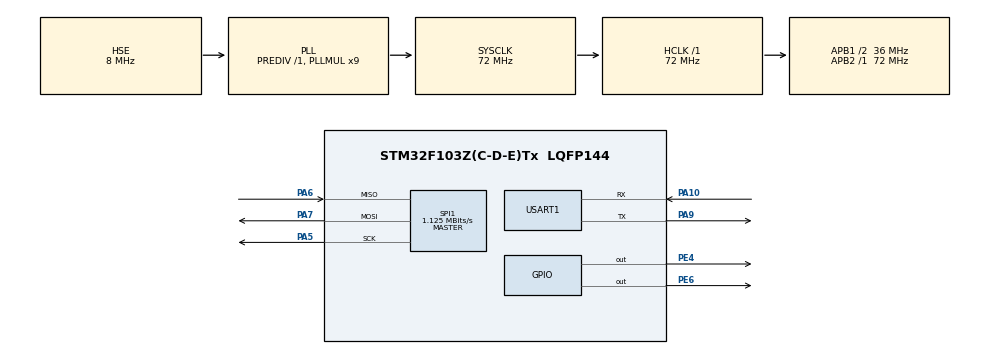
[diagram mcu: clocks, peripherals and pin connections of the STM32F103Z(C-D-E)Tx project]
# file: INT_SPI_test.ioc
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Mcu.Family=STM32F1
Mcu.Name=STM32F103Z(C-D-E)Tx
Mcu.Package=LQFP144
NVIC.PriorityGroup=NVIC_PRIORITYGROUP_4
NVIC.SPI1_IRQn=true\:0\:0\:true\:false\:true\:true\:true\:true
NVIC.USART1_IRQn=true\:0\:0\:false\:false\:true\:false\:true\:true
OSC_IN.Mode=HSE-External-Oscillator
OSC_IN.Signal=RCC_OSC_IN
OSC_OUT.Mode=HSE-External-Oscillator
OSC_OUT.Signal=RCC_OSC_OUT
PA10.Mode=Asynchronous
PA10.Signal=USART1_RX
PA13.Mode=Serial_Wire
PA13.Signal=SYS_JTMS-SWDIO
PA14.Mode=Serial_Wire
PA14.Signal=SYS_JTCK-SWCLK
PA5.Mode=Full_Duplex_Master
PA5.Signal=SPI1_SCK
PA6.Mode=Full_Duplex_Master
PA6.Signal=SPI1_MISO
PA7.Mode=Full_Duplex_Master
PA7.Signal=SPI1_MOSI
PA9.Mode=Asynchronous
PA9.Signal=USART1_TX
PE4.PinState=GPIO_PIN_SET
PE4.Signal=GPIO_Output
PE6.PinState=GPIO_PIN_SET
PE6.Signal=GPIO_Output
ProjectManager.HeapSize=0x200
ProjectManager.StackSize=0x400
ProjectManager.TargetToolchain=MDK-ARM V5.32
RCC.AHBFreq_Value=72000000
RCC.APB1CLKDivider=RCC_HCLK_DIV2
RCC.APB1Freq_Value=36000000
RCC.APB1TimFreq_Value=72000000
RCC.APB2Freq_Value=72000000
RCC.APB2TimFreq_Value=72000000
RCC.HCLKFreq_Value=72000000
RCC.PLLMUL=RCC_PLL_MUL9
RCC.PLLSourceVirtual=RCC_PLLSOURCE_HSE
RCC.SYSCLKFreq_VALUE=72000000
RCC.SYSCLKSource=RCC_SYSCLKSOURCE_PLLCLK
RCC.USBFreq_Value=72000000
SPI1.BaudRatePrescaler=SPI_BAUDRATEPRESCALER_64
SPI1.CalculateBaudRate=1.125 MBits/s
SPI1.Direction=SPI_DIRECTION_2LINES
SPI1.Mode=SPI_MODE_MASTER
SPI1.VirtualType=VM_MASTER
USART1.Parity=PARITY_ODD
USART1.VirtualMode=VM_ASYNC
USART1.WordLength=WORDLENGTH_9B
board=custom

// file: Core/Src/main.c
/* USER CODE BEGIN Header */
/**
 ******************************************************************************
 * @file           : main.c
 * @brief          : Main program body
 ******************************************************************************
 * @attention
 *
 * Copyright (c) 2026 STMicroelectronics.
 * All rights reserved.
 *
 * This software is licensed under terms that can be found in the LICENSE file
 * in the root directory of this software component.
 * If no LICENSE file comes with this software, it is provided AS-IS.
 *
 ******************************************************************************
 */
/* USER CODE END Header */
#include "main.h"
/* USER CODE BEGIN Includes */
#include "BSP_Usart_Redir.h"
#include <stdbool.h>
/* USER CODE END Includes */

/* USER CODE BEGIN PD */
// #define VERSION1
#define VERSION2
/* USER CODE END PD */

SPI_HandleTypeDef hspi1;
UART_HandleTypeDef huart1;

/* USER CODE BEGIN PV */

// version1
#ifdef VERSION1
uint8_t tx_buffer[4] = {0x9F, 0x00, 0x00, 0x00};
uint8_t rx_buffer[4] = {0x00};
volatile uint32_t id = 0;
volatile bool is_JEDEC_ready = false;
#endif
// version2
#ifdef VERSION2
uint8_t cmd = 0x9F;
uint8_t rx_buffer[3] = {0x00, 0x00, 0x00};
volatile uint32_t id = 0;
volatile bool is_JEDEC_ready = false;
#endif
/* USER CODE END PV */

void SystemClock_Config(void);
static void MX_GPIO_Init(void);
static void MX_SPI1_Init(void);
static void MX_USART1_UART_Init(void);
/* USER CODE BEGIN PFP */
void W25Qxx_CS_Enable(void);
void W25Qxx_CS_Disable(void);
#ifdef VERSION1
void W25Qxx_ReadID_IT(void);
#endif
#ifdef VERSION2
void W25Qxx_ReadID_Version2_IT(void);
#endif
/* USER CODE END PFP */

int main(void)
{

  /* MCU Configuration--------------------------------------------------------*/

  /* Reset of all peripherals, Initializes the Flash interface and the Systick. */
  HAL_Init();

  /* Configure the system clock */
  SystemClock_Config();

  /* Initialize all configured peripherals */
  MX_GPIO_Init();
  MX_SPI1_Init();
  MX_USART1_UART_Init();
  /* USER CODE BEGIN 2 */
  BSP_Usart_Init(&huart1);
#ifdef VERSION1
  W25Qxx_ReadID_IT(); // 以中断的方式获取ID！
#endif
#ifdef VERSION2
  W25Qxx_ReadID_Version2_IT();
#endif
  /* USER CODE END 2 */

  /* Infinite loop */
  /* USER CODE BEGIN WHILE */
  while (1)
  {
    if (is_JEDEC_ready)
    {
      printf("JEDEC ID: 0x%x\n", id);
      is_JEDEC_ready = false;
    }
    /* USER CODE END WHILE */

  }
}

void SystemClock_Config(void)
{
  RCC_OscInitTypeDef RCC_OscInitStruct = {0};
  RCC_ClkInitTypeDef RCC_ClkInitStruct = {0};

  /** Initializes the RCC Oscillators according to the specified parameters
   * in the RCC_OscInitTypeDef structure.
   */
  RCC_OscInitStruct.OscillatorType = RCC_OSCILLATORTYPE_HSE;
  RCC_OscInitStruct.HSEState = RCC_HSE_ON;
  RCC_OscInitStruct.HSEPredivValue = RCC_HSE_PREDIV_DIV1;
  RCC_OscInitStruct.HSIState = RCC_HSI_ON;
  RCC_OscInitStruct.PLL.PLLState = RCC_PLL_ON;
  RCC_OscInitStruct.PLL.PLLSource = RCC_PLLSOURCE_HSE;
  RCC_OscInitStruct.PLL.PLLMUL = RCC_PLL_MUL9;
  if (HAL_RCC_OscConfig(&RCC_OscInitStruct) != HAL_OK)
  {
    Error_Handler();
  }

  /** Initializes the CPU, AHB and APB buses clocks
   */
  RCC_ClkInitStruct.ClockType = RCC_CLOCKTYPE_HCLK | RCC_CLOCKTYPE_SYSCLK | RCC_CLOCKTYPE_PCLK1 | RCC_CLOCKTYPE_PCLK2;
  RCC_ClkInitStruct.SYSCLKSource = RCC_SYSCLKSOURCE_PLLCLK;
  RCC_ClkInitStruct.AHBCLKDivider = RCC_SYSCLK_DIV1;
  RCC_ClkInitStruct.APB1CLKDivider = RCC_HCLK_DIV2;
  RCC_ClkInitStruct.APB2CLKDivider = RCC_HCLK_DIV1;

  if (HAL_RCC_ClockConfig(&RCC_ClkInitStruct, FLASH_LATENCY_2) != HAL_OK)
  {
    Error_Handler();
  }
}

static void MX_SPI1_Init(void)
{

  /* SPI1 parameter configuration*/
  hspi1.Instance = SPI1;
  hspi1.Init.Mode = SPI_MODE_MASTER;
  hspi1.Init.Direction = SPI_DIRECTION_2LINES;
  hspi1.Init.DataSize = SPI_DATASIZE_8BIT;
  hspi1.Init.CLKPolarity = SPI_POLARITY_LOW;
  hspi1.Init.CLKPhase = SPI_PHASE_1EDGE;
  hspi1.Init.NSS = SPI_NSS_SOFT;
  hspi1.Init.BaudRatePrescaler = SPI_BAUDRATEPRESCALER_64;
  hspi1.Init.FirstBit = SPI_FIRSTBIT_MSB;
  hspi1.Init.TIMode = SPI_TIMODE_DISABLE;
  hspi1.Init.CRCCalculation = SPI_CRCCALCULATION_DISABLE;
  hspi1.Init.CRCPolynomial = 10;
  if (HAL_SPI_Init(&hspi1) != HAL_OK)
  {
    Error_Handler();
  }
}

static void MX_USART1_UART_Init(void)
{

  huart1.Instance = USART1;
  huart1.Init.BaudRate = 115200;
  huart1.Init.WordLength = UART_WORDLENGTH_9B;
  huart1.Init.StopBits = UART_STOPBITS_1;
  huart1.Init.Parity = UART_PARITY_ODD;
  huart1.Init.Mode = UART_MODE_TX_RX;
  huart1.Init.HwFlowCtl = UART_HWCONTROL_NONE;
  huart1.Init.OverSampling = UART_OVERSAMPLING_16;
  if (HAL_UART_Init(&huart1) != HAL_OK)
  {
    Error_Handler();
  }
}

static void MX_GPIO_Init(void)
{
  GPIO_InitTypeDef GPIO_InitStruct = {0};

  /* GPIO Ports Clock Enable */
  __HAL_RCC_GPIOE_CLK_ENABLE();
  __HAL_RCC_GPIOA_CLK_ENABLE();

  /*Configure GPIO pin Output Level */
  HAL_GPIO_WritePin(GPIOE, GPIO_PIN_4 | GPIO_PIN_6, GPIO_PIN_SET);

  /*Configure GPIO pins : PE4 PE6 */
  GPIO_InitStruct.Pin = GPIO_PIN_4 | GPIO_PIN_6;
  GPIO_InitStruct.Mode = GPIO_MODE_OUTPUT_PP;
  GPIO_InitStruct.Pull = GPIO_NOPULL;
  GPIO_InitStruct.Speed = GPIO_SPEED_FREQ_LOW;
  HAL_GPIO_Init(GPIOE, &GPIO_InitStruct);

}

/* USER CODE BEGIN 4 */

#ifdef VERSION1
void W25Qxx_ReadID_IT(void)
{
  W25Qxx_CS_Enable();
  HAL_StatusTypeDef state = HAL_SPI_TransmitReceive_IT(&hspi1, tx_buffer, rx_buffer, 4); // 非阻塞的
  if(state == HAL_OK)
  {
    printf("SPI Enable Interrupt TransmitReceive Success\n");
  }
  else
  {
    W25Qxx_CS_Disable(); // 关闭片选
    printf("SPI Enable Interrupt TransmitReceive Failed\n");
  }
}
#endif

// 收发完成对应的回调函数
// 走到这里，我们把数据交换完了吗？？完了！！
void HAL_SPI_TxRxCpltCallback(SPI_HandleTypeDef *hspi)
{
  if(hspi == &hspi1)
  {
    W25Qxx_CS_Disable();
    id = ((rx_buffer[1]<<16) | (rx_buffer[2]<<8) | rx_buffer[3]);
    is_JEDEC_ready = true;
  }
}

#ifdef VERSION2
void W25Qxx_ReadID_Version2_IT(void)
{
  W25Qxx_CS_Enable();
  HAL_StatusTypeDef state = HAL_SPI_Transmit_IT(&hspi1, &cmd, sizeof(cmd));
  if (state == HAL_OK)
  {
    printf("SPI Enable Interrupt Transmit Success\n");
  }
  else
  {
    W25Qxx_CS_Disable();
    printf("SPI Enable Interrupt Transmit Failed\n");
  }
}
#endif

// 只发中断回调,发完了，cmd
void HAL_SPI_TxCpltCallback(SPI_HandleTypeDef *hspi)
{
  if (hspi == &hspi1)
  {
    HAL_StatusTypeDef state = HAL_SPI_Receive_IT(&hspi1, rx_buffer, sizeof(rx_buffer) / sizeof(rx_buffer[0]));
    if (state != HAL_OK)
    {
      W25Qxx_CS_Disable();
    }
  }
}

// 只读中断回调，走到这里，数据读完了吗？？完了！！
void HAL_SPI_RxCpltCallback(SPI_HandleTypeDef *hspi)
{
  if(hspi == &hspi1)
  {
    W25Qxx_CS_Disable();
    id = ((rx_buffer[0] << 16) | (rx_buffer[1]<<8) | rx_buffer[0]);
    is_JEDEC_ready = true;
  }
}

void HAL_SPI_ErrorCallback(SPI_HandleTypeDef *hspi)
{
  if(hspi == &hspi1)
  {
    W25Qxx_CS_Disable();
    id=0;
    is_JEDEC_ready = false;
    // printf()
  }
}

void W25Qxx_CS_Enable(void)
{
  HAL_GPIO_WritePin(GPIOE, GPIO_PIN_6, GPIO_PIN_RESET);
}

void W25Qxx_CS_Disable(void)
{
  HAL_GPIO_WritePin(GPIOE, GPIO_PIN_6, GPIO_PIN_SET);
}

/* USER CODE END 4 */

void Error_Handler(void)
{
  __disable_irq();
  while (1)
  {
  }
}
